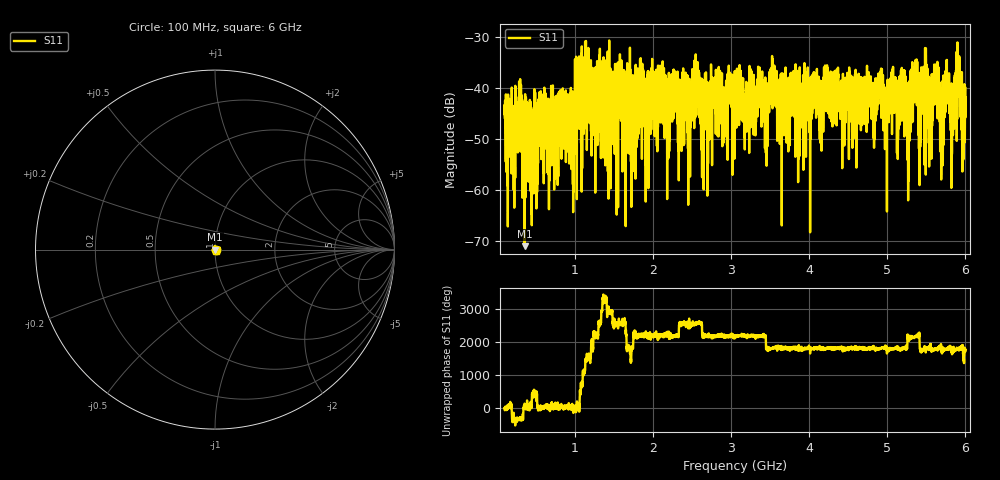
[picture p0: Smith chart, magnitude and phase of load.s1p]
# HZ S DB R 50
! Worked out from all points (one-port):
!   4001 points, 100 MHz to 6 GHz, reference 50 ohm
!   lowest |S11| = -71.0 dB at 356.6 MHz (marker M1), VSWR 1.00, Z = 50 + j0.0268 ohm
!   |S11| at or under -10 dB: start of sweep to end of sweep
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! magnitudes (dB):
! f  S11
! 100 MHz  -45.1
! 356.6 MHz  -71.0
! 837.5 MHz  -43.6
! 970.2 MHz  -40.6
! 1.026 GHz  -36.9
! 1.165 GHz  -35.6
! 1.575 GHz  -42.4
! 2.312 GHz  -38.4
! 3.05 GHz  -41.2
! 3.788 GHz  -39.3
! 3.875 GHz  -46.6
! 4.212 GHz  -37.7
! 4.525 GHz  -38.1
! 4.829 GHz  -50.4
! 4.91 GHz  -37.6
! 4.99 GHz  -46.3
! 5.184 GHz  -36.3
! 5.263 GHz  -45.2
! 5.358 GHz  -40.7
! 5.417 GHz  -48.2
! 5.488 GHz  -39.0
! 5.562 GHz  -45.4
! 5.628 GHz  -36.6
! 5.689 GHz  -53.1
! 5.763 GHz  -34.4
! 5.827 GHz  -52.9
! 5.907 GHz  -38.2
! 6 GHz  -41.8
